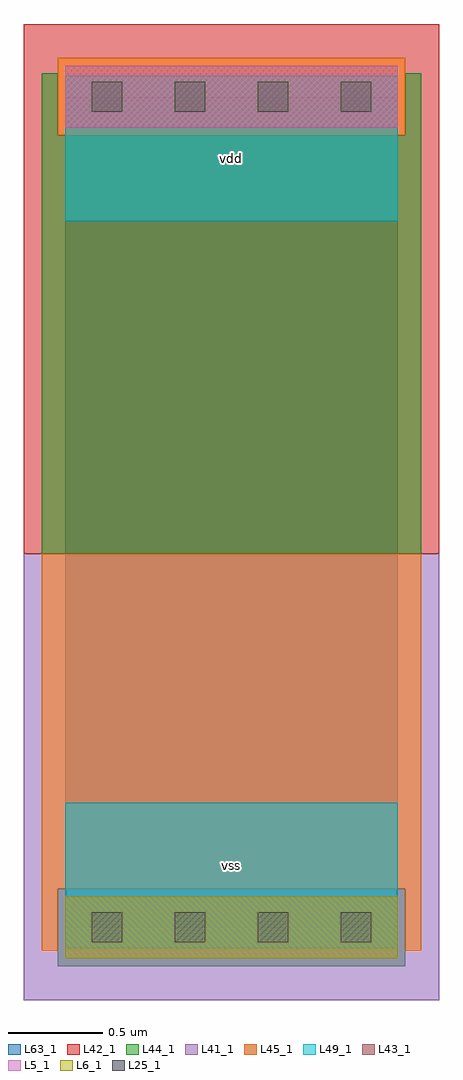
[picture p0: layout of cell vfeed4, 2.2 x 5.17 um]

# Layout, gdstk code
import gdstk
lib = gdstk.Library(unit=1e-6, precision=1e-09)
def R(c, l, rs):  # rectangles x0, y0, x1, y1
    for r in rs: c.add(gdstk.rectangle(r[:2], r[2:], *l))
def A(c, l, x, y, w, h, nx, ny, dx, dy):  # array of equal rectangles
    R(c, l, [(x+i*dx, y+j*dy, x+i*dx+w, y+j*dy+h) for i in range(nx) for j in range(ny)])
L5_1 = (5, 1)
L6_1 = (6, 1)
L25_1 = (25, 1)
L41_1 = (41, 1)
L42_1 = (42, 1)
L43_1 = (43, 1)
L44_1 = (44, 1)
L45_1 = (45, 1)
L49_1 = (49, 1)
L63_1 = (63, 1)

vfeed4 = lib.new_cell('vfeed4')
R(vfeed4, L5_1, [(0,4.235,1.76,4.565)])
R(vfeed4, L6_1, [(0,-0.165,1.76,0.165)])
A(vfeed4, L25_1, 0.14, -0.08, 0.16, 0.16, 4, 2, 0.44, 4.4)
R(vfeed4, L41_1, [(-0.22,-0.385,1.98,1.98)])
R(vfeed4, L42_1, [(-0.22,1.98,1.98,4.785)])
R(vfeed4, L43_1, [(0,-0.165,1.76,0.165), (0,4.235,1.76,4.565)])
R(vfeed4, L44_1, [(-0.04,-0.205,1.8,0.205), (-0.125,1.98,1.885,4.195), (-0.125,4.195,-0.04,4.525), (1.8,4.195,1.885,4.525)])
R(vfeed4, L45_1, [(-0.125,-0.125,-0.04,0.205), (1.8,-0.125,1.885,0.205), (-0.125,0.205,1.885,1.98), (-0.04,4.195,1.8,4.605)])
R(vfeed4, L49_1, [(0,-0.11,1.76,0.66), (0,3.74,1.76,4.51)])
R(vfeed4, L63_1, [(0,0,1.76,4.4)])
vfeed4.add(gdstk.Label('vss', (0.88,0.33), layer=49, texttype=1))
vfeed4.add(gdstk.Label('vdd', (0.88,4.07), layer=49, texttype=1))

lib.write_gds('vfeed4.gds')
